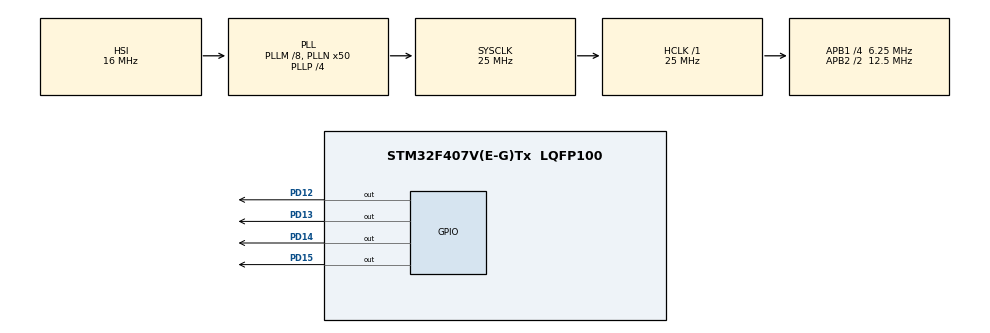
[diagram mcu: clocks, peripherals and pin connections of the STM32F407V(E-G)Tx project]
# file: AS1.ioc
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Mcu.Family=STM32F4
Mcu.Name=STM32F407V(E-G)Tx
Mcu.Package=LQFP100
NVIC.PriorityGroup=NVIC_PRIORITYGROUP_4
PD12.Signal=GPIO_Output
PD13.Signal=GPIO_Output
PD14.Signal=GPIO_Output
PD15.Signal=GPIO_Output
ProjectManager.HeapSize=0x200
ProjectManager.StackSize=0x400
ProjectManager.TargetToolchain=STM32CubeIDE
RCC.48MHZClocksFreq_Value=14285714.285714285
RCC.AHBFreq_Value=25000000
RCC.APB1CLKDivider=RCC_HCLK_DIV4
RCC.APB1Freq_Value=6250000
RCC.APB1TimFreq_Value=12500000
RCC.APB2CLKDivider=RCC_HCLK_DIV2
RCC.APB2Freq_Value=12500000
RCC.APB2TimFreq_Value=25000000
RCC.CortexFreq_Value=25000000
RCC.HCLKFreq_Value=25000000
RCC.HSE_VALUE=8000000
RCC.HSI_VALUE=16000000
RCC.LSE_VALUE=32768
RCC.PLLM=8
RCC.PLLN=50
RCC.PLLP=RCC_PLLP_DIV4
RCC.PLLQ=7
RCC.SYSCLKFreq_VALUE=25000000
RCC.SYSCLKSource=RCC_SYSCLKSOURCE_PLLCLK
RCC.VCOOutputFreq_Value=100000000
board=STM32F407G-DISC1

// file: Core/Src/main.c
/* USER CODE BEGIN Header */
/**
  ******************************************************************************
  * @file           : main.c
  * @brief          : Main program body
  ******************************************************************************
  * @attention
  *
  * Copyright (c) 2024 STMicroelectronics.
  * All rights reserved.
  *
  * This software is licensed under terms that can be found in the LICENSE file
  * in the root directory of this software component.
  * If no LICENSE file comes with this software, it is provided AS-IS.
  *
  ******************************************************************************
  */
/* USER CODE END Header */
#include "main.h"

/* USER CODE BEGIN Includes */
#include "FreeRTOS.h"
#include  "FreeRTOSConfig.h"
#include "task.h"
/* USER CODE END Includes */

void SystemClock_Config(void);
static void MX_GPIO_Init(void);

/* USER CODE BEGIN 0 */
void red(void *pvParam)
{
	while(1)
	{
		HAL_GPIO_TogglePin(GPIOD, GPIO_PIN_12);
		vTaskDelay(500 / portTICK_RATE_MS);
	}
	vTaskDelete(NULL);
}

void blue(void *pvParam)
{
	portTickType wakeupTime = xTaskGetTickCount();
	while(1)
	{
		HAL_GPIO_TogglePin(GPIOD, GPIO_PIN_13);
		vTaskDelayUntil(&wakeupTime ,1000 / portTICK_RATE_MS);
	}
	vTaskDelete(NULL);
}
void green(void *pvParam)
{
	while(1)
	{
		HAL_GPIO_TogglePin(GPIOD, GPIO_PIN_14);
		vTaskDelay(1500 / portTICK_RATE_MS);
	}
	vTaskDelete(NULL);
}

void orange(void *pvParam)
{
	portTickType wakeupTime = xTaskGetTickCount();
	while(1)
	{
		HAL_GPIO_TogglePin(GPIOD, GPIO_PIN_15);
		vTaskDelayUntil(&wakeupTime ,2000 / portTICK_RATE_MS);
	}
	vTaskDelete(NULL);
}

/* USER CODE END 0 */

int main(void)
{

  /* USER CODE BEGIN 1 */
	BaseType_t ret;
  /* USER CODE END 1 */

  /* MCU Configuration--------------------------------------------------------*/

  /* Reset of all peripherals, Initializes the Flash interface and the Systick. */
  HAL_Init();

  /* Configure the system clock */
  SystemClock_Config();

  /* Initialize all configured peripherals */
  MX_GPIO_Init();
  /* USER CODE BEGIN 2 */
  ret = xTaskCreate(red, "Periodic1", configMINIMAL_STACK_SIZE, NULL, 3, NULL);
  if(ret != pdTRUE)
	  Error_Handler();
  ret = xTaskCreate(blue, "Aperiodic2", configMINIMAL_STACK_SIZE, NULL, 2, NULL);
  if(ret != pdTRUE)
  	  Error_Handler();
  ret = xTaskCreate(green, "Periodic3", configMINIMAL_STACK_SIZE, NULL, 3, NULL);
  if(ret != pdTRUE)
	  Error_Handler();
  ret = xTaskCreate(orange, "Aperiodic4", configMINIMAL_STACK_SIZE, NULL, 2, NULL);
  if(ret != pdTRUE)
  	  Error_Handler();

  vTaskStartScheduler();
  /* USER CODE END 2 */

  /* Infinite loop */
  while (1)
  {

  }
}

void SystemClock_Config(void)
{
  RCC_OscInitTypeDef RCC_OscInitStruct = {0};
  RCC_ClkInitTypeDef RCC_ClkInitStruct = {0};

  /** Configure the main internal regulator output voltage
  */
  __HAL_RCC_PWR_CLK_ENABLE();
  __HAL_PWR_VOLTAGESCALING_CONFIG(PWR_REGULATOR_VOLTAGE_SCALE1);

  /** Initializes the RCC Oscillators according to the specified parameters
  * in the RCC_OscInitTypeDef structure.
  */
  RCC_OscInitStruct.OscillatorType = RCC_OSCILLATORTYPE_HSI;
  RCC_OscInitStruct.HSIState = RCC_HSI_ON;
  RCC_OscInitStruct.HSICalibrationValue = RCC_HSICALIBRATION_DEFAULT;
  RCC_OscInitStruct.PLL.PLLState = RCC_PLL_ON;
  RCC_OscInitStruct.PLL.PLLSource = RCC_PLLSOURCE_HSI;
  RCC_OscInitStruct.PLL.PLLM = 8;
  RCC_OscInitStruct.PLL.PLLN = 50;
  RCC_OscInitStruct.PLL.PLLP = RCC_PLLP_DIV4;
  RCC_OscInitStruct.PLL.PLLQ = 7;
  if (HAL_RCC_OscConfig(&RCC_OscInitStruct) != HAL_OK)
  {
    Error_Handler();
  }

  /** Initializes the CPU, AHB and APB buses clocks
  */
  RCC_ClkInitStruct.ClockType = RCC_CLOCKTYPE_HCLK|RCC_CLOCKTYPE_SYSCLK
                              |RCC_CLOCKTYPE_PCLK1|RCC_CLOCKTYPE_PCLK2;
  RCC_ClkInitStruct.SYSCLKSource = RCC_SYSCLKSOURCE_PLLCLK;
  RCC_ClkInitStruct.AHBCLKDivider = RCC_SYSCLK_DIV1;
  RCC_ClkInitStruct.APB1CLKDivider = RCC_HCLK_DIV4;
  RCC_ClkInitStruct.APB2CLKDivider = RCC_HCLK_DIV2;

  if (HAL_RCC_ClockConfig(&RCC_ClkInitStruct, FLASH_LATENCY_0) != HAL_OK)
  {
    Error_Handler();
  }
}

static void MX_GPIO_Init(void)
{
  GPIO_InitTypeDef GPIO_InitStruct = {0};

  /* GPIO Ports Clock Enable */
  __HAL_RCC_GPIOD_CLK_ENABLE();

  /*Configure GPIO pin Output Level */
  HAL_GPIO_WritePin(GPIOD, GPIO_PIN_12|GPIO_PIN_13|GPIO_PIN_14|GPIO_PIN_15, GPIO_PIN_RESET);

  /*Configure GPIO pins : PD12 PD13 PD14 PD15 */
  GPIO_InitStruct.Pin = GPIO_PIN_12|GPIO_PIN_13|GPIO_PIN_14|GPIO_PIN_15;
  GPIO_InitStruct.Mode = GPIO_MODE_OUTPUT_PP;
  GPIO_InitStruct.Pull = GPIO_NOPULL;
  GPIO_InitStruct.Speed = GPIO_SPEED_FREQ_LOW;
  HAL_GPIO_Init(GPIOD, &GPIO_InitStruct);

}

void Error_Handler(void)
{
  __disable_irq();
  while (1)
  {
  }
}
